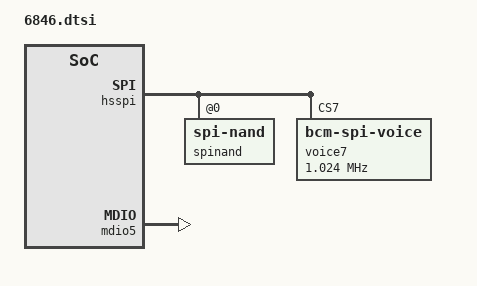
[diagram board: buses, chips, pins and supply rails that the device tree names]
/dts-v1/;

#include "linux_autoconf.h"

#include "../../boot_rsvdmem.dtsi"

/ {
	/* arch */
	#define MODEL "Broadcom BCM96846"
	#define COMPATIBLE "brcm,bcm96846"
	#define PMU_CORE0_SPI			9
	#define PMU_CORE1_SPI			10
	#include "../../ip/bcm_cortexA7_dual.dtsi"

	#define PERIPH_CLK		200000000
	#define HS_SPI_PLL_CLK	400000000
	#include "../../ip/bcm_clocks.dtsi"

	/* memory reservations */
	#include "../../bcm_rsvdmem.dtsi"

	/* memc */
	#define BP_DDR_SUPPORT_2L_PCB	1
	#include "../../ip/memc.dtsi"

	aliases {
		serial0 = &uart0;
		spi1 = &hsspi; /* 0 = legacy, 1 = high speed */
		hs_serial0 = &hs_uart0;
		spinand0 = &spinand;
		nand0 = &nand;
	};

	chosen {
		stdout-path = "serial0:115200n8";
		/* increase coherent_pool size */
 		bootargs = "coherent_pool=2M cpuidle_sysfs_switch pci=pcie_bus_safe cma=0M console=ttyS0,115200 earlycon rootwait";
	};

	/* PMC */
	pmc: pmc {
		#define PMC_REG_OFFSET              0xffb01018 
		#define PMC_REG_SIZE                0x5080
		#define PROCMON_REG_OFFSET          0xffb20000
		#define PROCMON_REG_SIZE            0x240
		#define MAESTRO_REG_OFFSET          0xffb20400
		#define MAESTRO_REG_SIZE            0x5d0
		#include "../../ip/bcm_pmc_3_1.dtsi"
	};

    /* boot state */
	boot_state: boot_state {
		#define RESET_REASON_OFFSET  0xff80263c
		#define RESET_REASON_SIZE    0x4
		#define RESET_STATUS_OFFSET  0xff85a03c
		#define RESET_STATUS_SIZE    0x4
		#include "../../ip/bcm_boot_state_v2.dtsi"
	};

	/* wan type auto detect */
	wantype_detect {
		#define GPON_GENERAL_CONFIG_ADDR	0x82db1000
		#define GPON_GENERAL_CONFIG_SIZE	0x10
		#define EPON_TOP_ADDR			0x82dac000
		#define EPON_TOP_SIZE			0x1C
		#define EPON_LIF_ADDR			0x82dad800
		#define EPON_LIF_SIZE			0x110
		#include "../../ip/bcm_wantype_detect.dtsi"
	};

	/* NAND controller. Although it is on PERIPH bus, but to facilitate single 
	  device tree for linux/uboot and because uboot cannot interpret composite
	  addresses has no scope */
	nand: nand {
		#define NAND_CTRL_OFFSET		0xff801800
		#define NAND_CTRL_SIZE			0x400
		#define NAND_INTR_OFFSET		0xff802000
		#define NAND_INTR_SIZE			0x10
		#define NAND_CACHE_OFFSET		0xff801C00
		#define NAND_CACHE_SIZE			0x200
		#include "../../ip/bcm_nand7_1.dtsi"
	};

    hs_uart0: hs_serial0 {
        #define UART_OFFSET			0xff858400
        #define UART_SIZE			0x1E0
        #define UART_SPI 			93
        #include "../../ip/bcm_hs_uart.dtsi"
   };

   periph {
		compatible = "simple-bus";
		#address-cells = <1>;
		#size-cells = <1>;
		ranges = <0x0 0xff800000 0x100000>;

		/* UART */
		uart0: serial0 {
			#define UART_OFFSET			0x640
			#define UART_SIZE			0x18
			#define UART_SPI 			92
			#include "../../ip/bcm_uart.dtsi"
		};

		rng: rng {
			#define RNG200_OFFSET			0x00000b80
			#define RNG200_SIZE			0x28
			#include "../../ip/bcm_rng200.dtsi"
		};

		/* i2c */
		i2c0: i2c0 {
			#define I2C_OFFSET			0x2100
			#define I2C_SIZE			0x60
			#include "../../ip/bcm_i2c_bus.dtsi"
		};

		/* periph timers */
		timers: timers {
			#define TIMERS_OFFSET		0x400
			#define TIMERS__SIZE		0x48
			#define TIMER0_SPI			11
			#define TIMER1_SPI			12
			#define TIMER2_SPI			13
			#define TIMER3_SPI			14
			#include "../../ip/bcm_timer.dtsi"
		};

		/* watchdog */
		wdt: watchdog {
			#define WATCHDOG_OFFSET			0x480
			#define WATCHDOG_SIZE			0x10
			#define WATCHDOG_TIMEOUT		80
			#include "../../ip/bcm_wdt.dtsi"
		};

		/* watchdog reboot */
		wdt-reboot {
			compatible = "wdt-reboot";
			wdt = <&wdt>;
		};
		
		/* sotp */
		sotp {
			#define SOTP_OFFSET			0xc00
			#define SOTP_SIZE			0x84
			#include "../../ip/bcm_sotp.dtsi"
		};
		
		/* pinctrl */
		pincontroller: pinctrl {
			#define PINCTRL_OFFSET       0x554
			#define PINCTRL_SIZE         0xc
			#define PINCTRL_NUM_PINS     79 
			#define PINCTRL_NUM_FUNC     8
			#define PINCTRL_GPIO_FUNC    4
			#include "../../ip/bcm_bca_pinctrl.dtsi"
			#include "6846_pinctrl.dtsi"
		};
		/* gpio */

		gpioc: gpioc {
			#define GPIO_DIR_OFFSET      0x500
			#define GPIO_DIR_SIZE        0x20
			#define GPIO_DATA_OFFSET     0x520
			#define GPIO_DATA_SIZE       0x20
			#define NUM_OF_GPIOS         79 
			#include "../../ip/bcm_bca_gpio.dtsi"
		};

		/* external interrups */
		bca_extintr: bca_extintr0 {
			#define EXTINTR_OFFSET       0x4
			#define EXTINTR_SIZE         0x48
			#define MAX_EXT_INTR         8
			#include "../../ip/bcm_bca_extintr.dtsi"
			external_interrupts = <181 182 183 184 185 186 187 188>;
		};

		/* Led Controller */
		led_ctrl: led_ctrl {
			#define LED_GLBL_CTRL_OFFSET     0x800
			#define LED_GLBL_CTRL_SIZE       0x4 
			#define LED_HW_EN_OFFSET         0x808
			#define LED_HW_EN_SIZE           0x4
			#define LED_SER_SHIFT_OFFSET     0x80c
			#define LED_SER_SHIFT_SIZE       0x4
			#define LED_FLASH_RATE_OFFSET    0x810
			#define LED_FLASH_RATE_SIZE      0x10
			#define LED_BRIGHTNESS_OFFSET    0x820
			#define LED_BRIGHTNESS_SIZE      0x10
			#define LED_POWER_LED_CFG_OFFSET 0x830
			#define LED_POWER_LED_CFG_SIZE   0x4
			#define LED_POWER_LUT_OFFSET     0x834
			#define LED_POWER_LUT_SIZE       0x80
			#define LED_HW_POLARITY_OFFSET   0x8b4
			#define LED_HW_POLARITY_SIZE     0x4
			#define LED_SW_DATA_OFFSET       0x8b8
			#define LED_SW_DATA_SIZE         0x4
			#define LED_SW_POLARITY_OFFSET   0x8bc
			#define LED_SW_POLARITY_SIZE     0x4
			#define LED_PAR_POLARITY_OFFSET  0x8c0
			#define LED_PAR_POLARITY_SIZE    0x4
			#define LED_SER_POLARITY_OFFSET  0x8c4
			#define LED_SER_POLARITY_SIZE    0x4
			#define LED_MASK_OFFSET          0x804
			#define LED_MASK_SIZE            0x4
			#define MAX_SUPPORTED_LEDS       32

			hw-polarity-quirk = <0xc0000000>;
			status = "okay";
			#include "../../ip/bcm_led_ctrl.dtsi"
			#include "6846_leds.dtsi"
		};

        legacy_leds: legacy_leds {
			compatible = "brcm,legacy-led";
        };

		/* HS SPI */
		hsspi: spi {
			#define HS_SPI_OFFSET			0x1000
			#define HS_SPI_SIZE			0x600
			#define HS_SPI_MAX_FREQ			100000000
			#include "../../ip/bcm_hsspi.dtsi"
			spinand: spi-nand@0 {
				#define SPINAND_MAX_FREQ	100000000
				#include "../../ip/bcm_spinand.dtsi"
			};

			voice7 {
				pinctrl-0 = <&pcm_sdin_pin_0 &pcm_sdout_pin_1 &pcm_clk_pin_2 &pcm_fs_pin_3>;
				pinctrl-names = "default";
				compatible = "bcm-spi-voice";
				reg = <7>; /* chip select 7 */
				spi-index = <7>;/* ZSI/ISI header position index */
				spi-max-frequency = <1024000>;
			};
		};
	};

    therm0: brcm-therm {
		compatible = "brcm,therm";
		reboot-temperature = <130000>; /* millicelsius */
	};

    unimac {
		compatible = "brcm,unimac";
        reg = <0x82da0000 0x5000>,
              <0x82da8000 0x1400>,
              <0x82daa000 0x1400>;
        conf_offset = <0x1000>;
        mib_offset = <0x400>;
        top_offset = <0x400>;
        mib_step = <0x1>;
    };

    egphy {
		compatible = "brcm,egphy";
        reg = <0x82db2200 0x10>;
    };

    mdio5 {
		compatible = "brcm,mdio5";
        reg = <0xff802060 0x10>,
              <0xff85a068 0x4>;
    };

	rgmii: rgmii {
        compatible = "brcm,rgmii1";
        reg = <0x82d97300 0x44>,
              <0xff800500 0x78>,
              <0xff85a004 0x04>;
        status = "disabled";
	};

	mdio: mdio {
		compatible = "simple-bus";
		bus-type = "MDIO_V1_INT";

		#address-cells = <1>;
		#size-cells = <0>;
		
		phy1:1 {
			compatible = "brcm,bcaphy";
			phy-type = "EGPHY";
			reg = <1>;
			status = "disabled";
		};

		phy2:2 {
			compatible = "brcm,bcaphy";
			phy-type = "EGPHY";
			reg = <2>;
			status = "disabled";
		};

		phy3:3 {
			compatible = "brcm,bcaphy";
			phy-type = "EGPHY";
			reg = <3>;
			status = "disabled";
		};

		phy4:4 {
			compatible = "brcm,bcaphy";
			phy-type = "EGPHY";
			reg = <4>;
			status = "disabled";
		};

		phy_rgmii:rgmii {
			compatible = "brcm,bcaphy";
			phy-type = "EXT1";
			status = "disabled";
		};
	};

	switch0: switch0 {
		compatible = "brcm,enet";
		label = "bcmsw";
		sw-type = "RUNNER_SW";

		ports {
			#address-cells = <1>;
			#size-cells = <0>;

			port0@0 {
				reg = <0>;
				mac-type = "UNIMAC";
				phy-handle = <&phy1>;
				phy-mode = "gmii";
				gmii-direct;
				status = "disabled";
			};

			port1@1 {
				reg = <1>;
				mac-type = "UNIMAC";
				phy-handle = <&phy2>;
				phy-mode = "gmii";
				gmii-direct;
				status = "disabled";
			};

			port2@2 {
				reg = <2>;
				mac-type = "UNIMAC";
				phy-handle = <&phy3>;
				phy-mode = "gmii";
				gmii-direct;
				status = "disabled";
			};

			port3@3 {
				reg = <3>;
				mac-type = "UNIMAC";
				phy-handle = <&phy4>;
				phy-mode = "gmii";
				gmii-direct;
				status = "disabled";
			};

			port4@4 {
				reg = <4>;
				mac-type = "UNIMAC";
				phy-handle = <&phy_rgmii>;
				phy-mode = "rgmii";
				gmii-direct;
				status = "disabled";
			};
		};
	};
};
